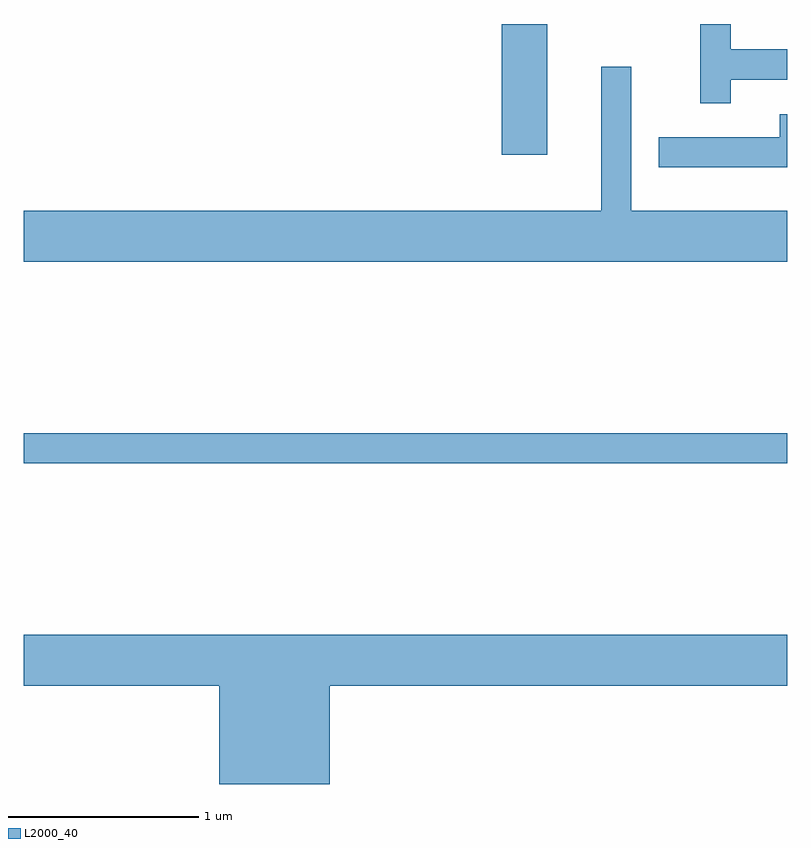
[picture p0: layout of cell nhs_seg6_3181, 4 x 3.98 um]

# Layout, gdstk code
import gdstk
lib = gdstk.Library(unit=1e-6, precision=1e-09)
def R(c, l, rs):  # rectangles x0, y0, x1, y1
    for r in rs: c.add(gdstk.rectangle(r[:2], r[2:], *l))
def P(c, l, *ps):  # polygons
    for p in ps: c.add(gdstk.Polygon(p, *l))
L2000_40 = (2000, 40)

nhs_seg6_3181 = lib.new_cell('nhs_seg6_3181')
R(nhs_seg6_3181, L2000_40, [(281.611,1557.861,285.611,1558.019), (284.116,1559.476,284.354,1560.162)])
P(nhs_seg6_3181, L2000_40, [(285.314,1559.871),(285.611,1559.871),(285.611,1560.029),(285.314,1560.029),(285.314,1560.162),(285.156,1560.162),(285.156,1559.748),(285.314,1559.748)],
  [(285.611,1559.184),(284.794,1559.184),(284.794,1559.938),(284.636,1559.938),(284.636,1559.184),(281.611,1559.184),(281.611,1558.916),(285.611,1558.916)],
  [(285.611,1559.689),(285.571,1559.689),(285.571,1559.569),(284.938,1559.569),(284.938,1559.411),(285.611,1559.411)],
  [(283.214,1556.696),(285.611,1556.696),(285.611,1556.964),(281.611,1556.964),(281.611,1556.696),(282.636,1556.696),(282.636,1556.181),(283.214,1556.181)])

lib.write_gds('nhs_seg6_3181.gds')
